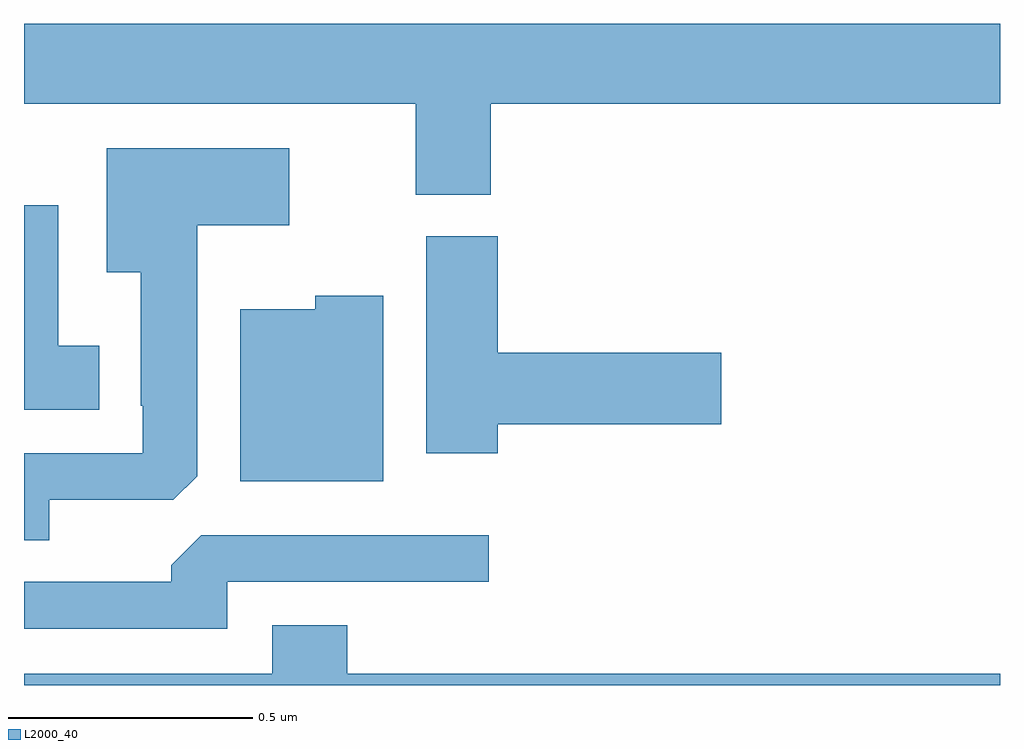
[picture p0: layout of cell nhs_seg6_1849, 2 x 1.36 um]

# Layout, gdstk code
import gdstk
lib = gdstk.Library(unit=1e-6, precision=1e-09)
def P(c, l, *ps):  # polygons
    for p in ps: c.add(gdstk.Polygon(p, *l))
L2000_40 = (2000, 40)

nhs_seg6_1849 = lib.new_cell('nhs_seg6_1849')
P(nhs_seg6_1849, L2000_40, [(135.956,924.692),(137,924.692),(137,924.856),(135,924.856),(135,924.692),(135.803,924.692),(135.803,924.505),(135.956,924.505)],
  [(135.052,923.88),(135.306,923.88),(135.355,923.929),(135.355,924.443),(135.544,924.443),(135.544,924.601),(135.17,924.601),(135.17,924.347),(135.239,924.347),(135.239,924.073),(135.243,924.073),(135.243,923.976),(135,923.976),(135,923.797),(135.052,923.797)],
  [(135.154,924.196),(135.07,924.196),(135.07,924.484),(135,924.484),(135,924.065),(135.154,924.065)],
  [(135.971,924.035),(136.429,924.035),(136.429,924.182),(135.971,924.182),(135.971,924.42),(135.824,924.42),(135.824,923.976),(135.971,923.976)],
  [(135.736,924.298),(135.597,924.298),(135.597,924.271),(135.443,924.271),(135.443,923.918),(135.736,923.918)],
  [(135.417,923.712),(135.952,923.712),(135.952,923.808),(135.363,923.808),(135.302,923.746),(135.302,923.712),(135,923.712),(135,923.616),(135.417,923.616)],
  [(137,923.524),(135.662,923.524),(135.662,923.623),(135.509,923.623),(135.509,923.524),(135,923.524),(135,923.5),(137,923.5)])

lib.write_gds('nhs_seg6_1849.gds')
